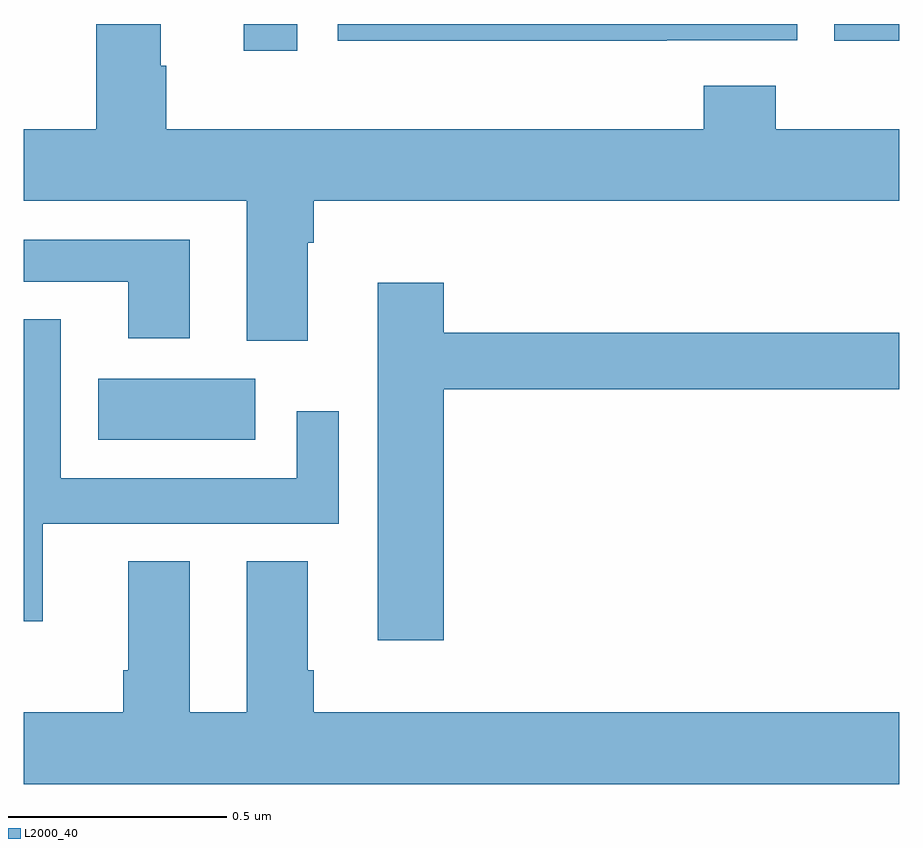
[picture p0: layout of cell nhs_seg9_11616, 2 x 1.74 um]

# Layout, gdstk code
import gdstk
lib = gdstk.Library(unit=1e-6, precision=1e-09)
def R(c, l, rs):  # rectangles x0, y0, x1, y1
    for r in rs: c.add(gdstk.rectangle(r[:2], r[2:], *l))
def P(c, l, *ps):  # polygons
    for p in ps: c.add(gdstk.Polygon(p, *l))
L2000_40 = (2000, 40)

nhs_seg9_11616 = lib.new_cell('nhs_seg9_11616')
R(nhs_seg9_11616, L2000_40, [(258.17,1186.55,258.529,1186.69), (258.503,1187.439,258.625,1187.5), (259.852,1187.462,260,1187.5)])
P(nhs_seg9_11616, L2000_40, [(258.649,1187),(258.662,1187),(258.662,1187.096),(260,1187.096),(260,1187.26),(259.718,1187.26),(259.718,1187.359),(259.553,1187.359),(259.553,1187.26),(258.326,1187.26),(258.326,1187.405),(258.313,1187.405),(258.313,1187.5),(258.166,1187.5),(258.166,1187.26),(258,1187.26),(258,1187.096),(258.509,1187.096),(258.509,1186.776),(258.649,1186.776)],
  [(259.469,1187.463),(259.767,1187.463),(259.767,1187.5),(258.717,1187.5),(258.717,1187.462),(259.469,1187.462)],
  [(258.379,1187.007),(258,1187.007),(258,1186.911),(258.239,1186.911),(258.239,1186.782),(258.379,1186.782)],
  [(258.959,1186.666),(260,1186.666),(260,1186.795),(258.959,1186.795),(258.959,1186.909),(258.809,1186.909),(258.809,1186.092),(258.959,1186.092)],
  [(258.044,1186.358),(258.72,1186.358),(258.72,1186.615),(258.624,1186.615),(258.624,1186.462),(258.085,1186.462),(258.085,1186.826),(258,1186.826),(258,1186.136),(258.044,1186.136)],
  [(260,1185.928),(258.662,1185.928),(258.662,1186.024),(258.649,1186.024),(258.649,1186.273),(258.509,1186.273),(258.509,1185.928),(258.379,1185.928),(258.379,1186.273),(258.239,1186.273),(258.239,1186.024),(258.227,1186.024),(258.227,1185.928),(258,1185.928),(258,1185.764),(260,1185.764)])

lib.write_gds('nhs_seg9_11616.gds')
